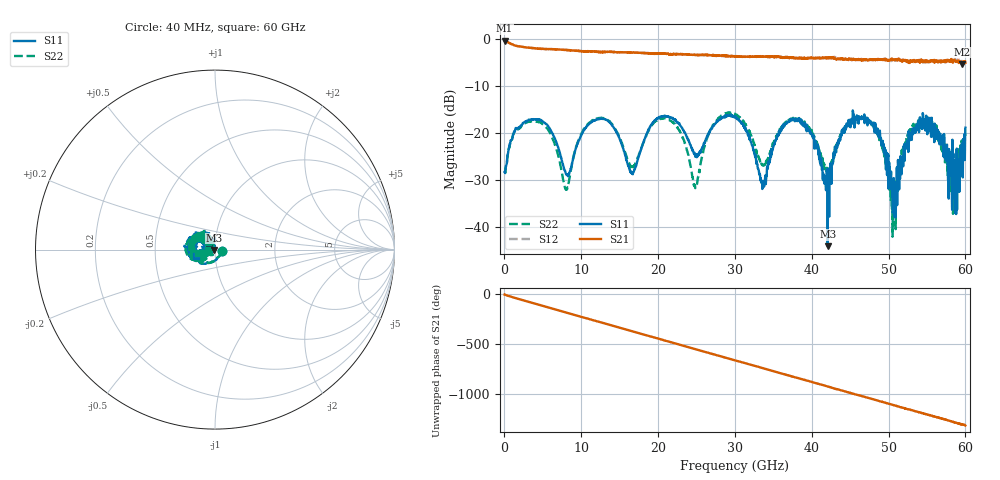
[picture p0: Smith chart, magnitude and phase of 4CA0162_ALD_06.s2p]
! File created by 'SoftPlot +Plus+ Measurement Management Software'
! SoftPlot +Plus+ Measurement Management Software
! Start 40.000000 MHz  Stop 60.000000 GHz  Points 1601
# MHZ S RI R 50
! S-Parameter data, F S11 S21 S12 S22
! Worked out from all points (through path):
!   1601 points, 40 MHz to 60 GHz, reference 50 ohm
!   highest |S21| = -0.38 dB at 40 MHz (marker M1); lowest = -5.4 dB at 59.59 GHz (marker M2)
!   group delay of S21, straight-line fit = 60.6 ps
!   lowest |S11| = -44.1 dB at 42.09 GHz (marker M3), VSWR 1.01, Z = 49.4 - j0.218 ohm
!   |S11| at or under -10 dB: start of sweep to end of sweep
!   |S22| runs from -42.1 to -15.7 dB; largest |S21 - S12| = 0.067
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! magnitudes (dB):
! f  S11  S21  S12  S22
! 40 MHz  -28.4  -0.4  -0.4  -28.4
! 4.5 GHz  -17.1  -2.1  -2.1  -17.7
! 8.097 GHz  -28.8  -2.4  -2.4  -32.1
! 10.05 GHz  -20.4  -2.6  -2.6  -20.1
! 13.49 GHz  -17.5  -2.8  -2.8  -17.3
! 16.64 GHz  -28.6  -2.9  -2.9  -27.2
! 20.05 GHz  -16.8  -3.2  -3.1  -17.2
! 22.86 GHz  -18.3  -3.3  -3.3  -19.7
! 24.85 GHz  -25.1  -3.4  -3.4  -31.8
! 27.06 GHz  -18.9  -3.5  -3.4  -18.7
! 30.02 GHz  -16.5  -3.7  -3.7  -16.0
! 33.62 GHz  -30.6  -3.8  -3.8  -27.0
! 36.43 GHz  -18.7  -4.0  -3.9  -18.0
! 40.03 GHz  -20.5  -4.0  -4.0  -19.9
! 42.09 GHz  -44.1  -4.0  -4.0  -28.2
! 45.65 GHz  -18.0  -4.4  -4.6  -17.4
! 50.03 GHz  -29.4  -4.6  -4.4  -31.7
! 50.71 GHz  -33.9  -4.5  -4.6  -34.0
! 53.89 GHz  -17.5  -4.8  -4.8  -18.6
! 58.65 GHz  -31.0  -4.6  -4.3  -28.6
! 59.59 GHz  -22.3  -5.4  -5.3  -25.4
! 60 GHz  -18.9  -5.1  -5.2  -20.2
